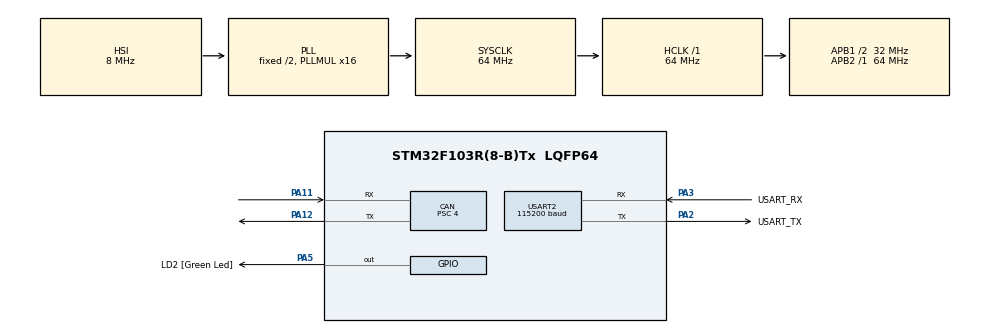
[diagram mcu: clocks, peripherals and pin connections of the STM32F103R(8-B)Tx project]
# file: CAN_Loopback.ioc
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CAN.AutoRetransmission=ENABLE
CAN.BS1=CAN_BS1_13TQ
CAN.BS2=CAN_BS2_2TQ
CAN.CalculateBaudRate=500000
CAN.CalculateTimeBit=2000
CAN.CalculateTimeQuantum=125
CAN.Mode=CAN_MODE_LOOPBACK
CAN.Prescaler=4
Mcu.Family=STM32F1
Mcu.Name=STM32F103R(8-B)Tx
Mcu.Package=LQFP64
NVIC.PriorityGroup=NVIC_PRIORITYGROUP_4
NVIC.USB_LP_CAN1_RX0_IRQn=true\:1\:0\:false\:false\:true\:true\:true\:true
PA11.GPIO_PuPd=GPIO_PULLUP
PA11.Mode=Master
PA11.Signal=CAN_RX
PA12.GPIO_Speed=GPIO_SPEED_FREQ_HIGH
PA12.Mode=Master
PA12.Signal=CAN_TX
PA13.GPIO_Label=TMS
PA13.Mode=Serial_Wire
PA13.Signal=SYS_JTMS-SWDIO
PA14.GPIO_Label=TCK
PA14.Mode=Serial_Wire
PA14.Signal=SYS_JTCK-SWCLK
PA2.GPIO_Label=USART_TX
PA2.GPIO_Mode=GPIO_MODE_AF_PP
PA2.GPIO_PuPd=GPIO_NOPULL
PA2.GPIO_Speed=GPIO_SPEED_FREQ_LOW
PA2.Mode=Asynchronous
PA2.Signal=USART2_TX
PA3.GPIO_Label=USART_RX
PA3.GPIO_PuPd=GPIO_NOPULL
PA3.GPIO_Speed=GPIO_SPEED_FREQ_LOW
PA3.Mode=Asynchronous
PA3.Signal=USART2_RX
PA5.GPIO_Label=LD2 [Green Led]
PA5.GPIO_ModeDefaultOutputPP=GPIO_MODE_OUTPUT_PP
PA5.GPIO_PuPd=GPIO_NOPULL
PA5.GPIO_Speed=GPIO_SPEED_FREQ_LOW
PA5.Signal=GPIO_Output
PB3.GPIO_Label=SWO
PB3.Signal=SYS_JTDO-TRACESWO
PC14-OSC32_IN.Mode=LSE-External-Oscillator
PC14-OSC32_IN.Signal=RCC_OSC32_IN
PC15-OSC32_OUT.Mode=LSE-External-Oscillator
PC15-OSC32_OUT.Signal=RCC_OSC32_OUT
PD0-OSC_IN.Mode=HSE-External-Clock-Source
PD0-OSC_IN.Signal=RCC_OSC_IN
PD1-OSC_OUT.Mode=HSE-External-Clock-Source
PD1-OSC_OUT.Signal=RCC_OSC_OUT
ProjectManager.HeapSize=0x200
ProjectManager.StackSize=0x400
ProjectManager.TargetToolchain=STM32CubeIDE
RCC.AHBFreq_Value=64000000
RCC.APB1CLKDivider=RCC_HCLK_DIV2
RCC.APB1Freq_Value=32000000
RCC.APB1TimFreq_Value=64000000
RCC.APB2Freq_Value=64000000
RCC.APB2TimFreq_Value=64000000
RCC.HCLKFreq_Value=64000000
RCC.PLLMUL=RCC_PLL_MUL16
RCC.RTCClockSelection=RCC_RTCCLKSOURCE_LSE
RCC.SYSCLKFreq_VALUE=64000000
RCC.SYSCLKSource=RCC_SYSCLKSOURCE_PLLCLK
RCC.USBFreq_Value=64000000
USART2.BaudRate=115200
USART2.VirtualMode=VM_ASYNC
board=NUCLEO-F103RB

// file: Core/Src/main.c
/* USER CODE BEGIN Header */
/**
 ******************************************************************************
 * @file           : main.c
 * @brief          : Main program body
 ******************************************************************************
 * @attention
 *
 * Copyright (c) 2026 STMicroelectronics.
 * All rights reserved.
 *
 * This software is licensed under terms that can be found in the LICENSE file
 * in the root directory of this software component.
 * If no LICENSE file comes with this software, it is provided AS-IS.
 *
 ******************************************************************************
 */
/**
 * 01_CAN_Loopback_c  —  [계층: HAL]  bxCAN 루프백 모드 (트랜시버/상대 노드 없이 송수신 시험)
 *
 * 동작
 *   - CAN1 을 500kbps 루프백 모드로 설정. 500ms 마다 표준 ID 0x123, 8바이트(증가하는 카운터) 프레임을 송신.
 *   - 루프백 모드에서는 송신 프레임이 내부에서 수신 경로로 되돌아오므로, FIFO0 수신 인터럽트가 걸린다.
 *   - 수신 콜백이 프레임을 읽어 오면 main 이 송신 내용과 비교해 UART(115200)로 출력.
 *
 * 실제 버스에 연결하려면
 *   1) CAN_MODE_LOOPBACK -> CAN_MODE_NORMAL 로 변경 (CubeMX: CAN > Operating Mode, 또는 MX_CAN_Init 의 hcan.Init.Mode)
 *   2) 3.3V CAN 트랜시버(SN65HVD230 등)를 PA12(CAN_TX), PA11(CAN_RX)에 연결, 버스 양 끝 120Ω 종단
 *   3) 상대 노드도 500kbps 로 설정. Nucleo 보드에는 트랜시버가 없다.
 *   * 주의: PA11/PA12 는 USB 와 같은 핀이고, bxCAN 과 USB 는 512바이트 전용 SRAM 을 공유해 동시에 쓸 수 없다.
 *
 * 비트 타이밍 (RM0008 24장)  CAN 클럭 = APB1 = 32MHz
 *   Prescaler = 4 -> tq = 4/32MHz = 125ns
 *   1 비트 = Sync(1) + BS1(13) + BS2(2) = 16 tq = 2us -> 500kbps
 *   샘플 포인트 = (1+13)/16 = 87.5%,   SJW = 1tq
 *
 * 하드웨어 대응
 *   CAN1->MCR : INRQ(초기화 요청) -> 초기화 모드에서 BTR 설정, CAN1->BTR.LBKM=1 (루프백)
 *   CAN1->FMR/FA1R/FM1R/FS1R/F0R1,F0R2 : 필터 뱅크 0 을 "32비트 마스크 모드, 마스크 0 = 모든 ID 통과"
 *   CAN1->IER.FMPIE0 : FIFO0 메시지 수신 인터럽트,  TSR/TDLxR/TDHxR/TIxR : 송신 메일박스(3개)
 *
 * ISR vs 콜백
 *   USB_LP_CAN1_RX0_IRQHandler (stm32f1xx_it.c, 진짜 ISR) -> HAL_CAN_IRQHandler()
 *     -> HAL_CAN_RxFifo0MsgPendingCallback() (이 파일) : FIFO0 에 프레임이 도착
 */
/* USER CODE END Header */
#include "main.h"

/* USER CODE BEGIN Includes */
#include <stdio.h>
#include <string.h>
/* USER CODE END Includes */

CAN_HandleTypeDef hcan;
UART_HandleTypeDef huart2;

/* USER CODE BEGIN PV */
static volatile uint8_t rx_flag;
static CAN_RxHeaderTypeDef rx_hdr;
static uint8_t rx_data[8];
/* USER CODE END PV */

void SystemClock_Config(void);
static void MX_GPIO_Init(void);
static void MX_CAN_Init(void);
static void MX_USART2_UART_Init(void);

int main(void)
{

  /* USER CODE BEGIN 1 */
  char msg[120];
  uint8_t tx_data[8] = {0};
  uint32_t seq = 0;
  /* USER CODE END 1 */

  /* MCU Configuration--------------------------------------------------------*/

  /* Reset of all peripherals, Initializes the Flash interface and the Systick. */
  HAL_Init();

  /* Configure the system clock */
  SystemClock_Config();

  /* Initialize all configured peripherals */
  MX_GPIO_Init();
  MX_CAN_Init();
  MX_USART2_UART_Init();
  /* USER CODE BEGIN 2 */
  /* 필터 뱅크 0: 32비트 마스크 모드, ID=0 / 마스크=0 -> 모든 프레임을 FIFO0 로 통과 */
  CAN_FilterTypeDef f = {0};
  f.FilterBank = 0;
  f.FilterMode = CAN_FILTERMODE_IDMASK;
  f.FilterScale = CAN_FILTERSCALE_32BIT;
  f.FilterIdHigh = 0;  f.FilterIdLow = 0;
  f.FilterMaskIdHigh = 0;  f.FilterMaskIdLow = 0;
  f.FilterFIFOAssignment = CAN_RX_FIFO0;
  f.FilterActivation = ENABLE;
  if (HAL_CAN_ConfigFilter(&hcan, &f) != HAL_OK) Error_Handler();

  if (HAL_CAN_Start(&hcan) != HAL_OK) Error_Handler();                                        /* MCR.INRQ 해제 -> 버스 참여 */
  if (HAL_CAN_ActivateNotification(&hcan, CAN_IT_RX_FIFO0_MSG_PENDING) != HAL_OK) Error_Handler();   /* IER.FMPIE0 */

  /* USER CODE END 2 */

  /* Infinite loop */
  while (1)
  {

    /* USER CODE BEGIN 3 */
    CAN_TxHeaderTypeDef h = {0};
    h.StdId = 0x123;
    h.IDE = CAN_ID_STD;                    /* 11비트 표준 ID */
    h.RTR = CAN_RTR_DATA;
    h.DLC = 8;
    h.TransmitGlobalTime = DISABLE;

    memcpy(tx_data, &seq, 4);
    tx_data[4] = 0xDE; tx_data[5] = 0xAD; tx_data[6] = 0xBE; tx_data[7] = 0xEF;

    uint32_t mailbox;
    rx_flag = 0;
    if (HAL_CAN_AddTxMessage(&hcan, &h, tx_data, &mailbox) != HAL_OK)
    {
        HAL_UART_Transmit(&huart2, (uint8_t *)"TX fail\r\n", 9, 100);
    }
    else
    {
        uint32_t t0 = HAL_GetTick();
        while (!rx_flag && (HAL_GetTick() - t0) < 50) {}      /* 루프백 수신 대기 (최대 50ms) */

        int ok = rx_flag && rx_hdr.StdId == 0x123 && rx_hdr.DLC == 8 && memcmp(rx_data, tx_data, 8) == 0;
        int n = snprintf(msg, sizeof msg, "TX id=0x123 seq=%lu | RX id=0x%03lX dlc=%lu | %s\r\n",
                         (unsigned long)seq, (unsigned long)rx_hdr.StdId, (unsigned long)rx_hdr.DLC,
                         ok ? "MATCH" : "NO/MISMATCH");
        HAL_UART_Transmit(&huart2, (uint8_t *)msg, (uint16_t)n, 100);
        HAL_GPIO_TogglePin(LD2_GPIO_Port, LD2_Pin);
    }
    seq++;
    HAL_Delay(500);
  }
  /* USER CODE END 3 */
}

void SystemClock_Config(void)
{
  RCC_OscInitTypeDef RCC_OscInitStruct = {0};
  RCC_ClkInitTypeDef RCC_ClkInitStruct = {0};

  /** Initializes the RCC Oscillators according to the specified parameters
  * in the RCC_OscInitTypeDef structure.
  */
  RCC_OscInitStruct.OscillatorType = RCC_OSCILLATORTYPE_HSI;
  RCC_OscInitStruct.HSIState = RCC_HSI_ON;
  RCC_OscInitStruct.HSICalibrationValue = RCC_HSICALIBRATION_DEFAULT;
  RCC_OscInitStruct.PLL.PLLState = RCC_PLL_ON;
  RCC_OscInitStruct.PLL.PLLSource = RCC_PLLSOURCE_HSI_DIV2;
  RCC_OscInitStruct.PLL.PLLMUL = RCC_PLL_MUL16;
  if (HAL_RCC_OscConfig(&RCC_OscInitStruct) != HAL_OK)
  {
    Error_Handler();
  }

  /** Initializes the CPU, AHB and APB buses clocks
  */
  RCC_ClkInitStruct.ClockType = RCC_CLOCKTYPE_HCLK|RCC_CLOCKTYPE_SYSCLK
                              |RCC_CLOCKTYPE_PCLK1|RCC_CLOCKTYPE_PCLK2;
  RCC_ClkInitStruct.SYSCLKSource = RCC_SYSCLKSOURCE_PLLCLK;
  RCC_ClkInitStruct.AHBCLKDivider = RCC_SYSCLK_DIV1;
  RCC_ClkInitStruct.APB1CLKDivider = RCC_HCLK_DIV2;
  RCC_ClkInitStruct.APB2CLKDivider = RCC_HCLK_DIV1;

  if (HAL_RCC_ClockConfig(&RCC_ClkInitStruct, FLASH_LATENCY_2) != HAL_OK)
  {
    Error_Handler();
  }
}

static void MX_GPIO_Init(void)
{
  GPIO_InitTypeDef GPIO_InitStruct = {0};

  /* GPIO Ports Clock Enable */
  __HAL_RCC_GPIOC_CLK_ENABLE();
  __HAL_RCC_GPIOD_CLK_ENABLE();
  __HAL_RCC_GPIOA_CLK_ENABLE();
  __HAL_RCC_GPIOB_CLK_ENABLE();

  /*Configure GPIO pin Output Level */
  HAL_GPIO_WritePin(LD2_GPIO_Port, LD2_Pin, GPIO_PIN_RESET);

  /*Configure GPIO pin : LD2_Pin */
  GPIO_InitStruct.Pin = LD2_Pin;
  GPIO_InitStruct.Mode = GPIO_MODE_OUTPUT_PP;
  GPIO_InitStruct.Pull = GPIO_NOPULL;
  GPIO_InitStruct.Speed = GPIO_SPEED_FREQ_LOW;
  HAL_GPIO_Init(LD2_GPIO_Port, &GPIO_InitStruct);

}

static void MX_CAN_Init(void)
{

  hcan.Instance = CAN1;
  hcan.Init.Prescaler = 4;
  hcan.Init.Mode = CAN_MODE_LOOPBACK;
  hcan.Init.SyncJumpWidth = CAN_SJW_1TQ;
  hcan.Init.TimeSeg1 = CAN_BS1_13TQ;
  hcan.Init.TimeSeg2 = CAN_BS2_2TQ;
  hcan.Init.TimeTriggeredMode = DISABLE;
  hcan.Init.AutoBusOff = DISABLE;
  hcan.Init.AutoWakeUp = DISABLE;
  hcan.Init.AutoRetransmission = ENABLE;
  hcan.Init.ReceiveFifoLocked = DISABLE;
  hcan.Init.TransmitFifoPriority = DISABLE;
  if (HAL_CAN_Init(&hcan) != HAL_OK)
  {
    Error_Handler();
  }
  /* USER CODE BEGIN CAN_Init 2 */
  /* 비트 타이밍 (CAN 클럭 = APB1 = 32MHz): tq = 4/32MHz = 125ns, 1비트 = 1+13+2 = 16tq = 2us -> 500kbps.
   * Mode  -> CAN1->BTR.LBKM/SILM,  AutoBusOff -> CAN1->MCR.ABOM,  AutoRetransmission -> MCR.NART(반전) */
  /* USER CODE END CAN_Init 2 */

}

static void MX_USART2_UART_Init(void)
{

  huart2.Instance = USART2;
  huart2.Init.BaudRate = 115200;
  huart2.Init.WordLength = UART_WORDLENGTH_8B;
  huart2.Init.StopBits = UART_STOPBITS_1;
  huart2.Init.Parity = UART_PARITY_NONE;
  huart2.Init.Mode = UART_MODE_TX_RX;
  huart2.Init.HwFlowCtl = UART_HWCONTROL_NONE;
  huart2.Init.OverSampling = UART_OVERSAMPLING_16;
  if (HAL_UART_Init(&huart2) != HAL_OK)
  {
    Error_Handler();
  }

}

/* USER CODE BEGIN 4 */
/* ------------------------------------------------------------------------- */
/* HAL 콜백 (ISR 아님): FIFO0 에 수신 프레임이 생겼을 때                          */
/* ------------------------------------------------------------------------- */
void HAL_CAN_RxFifo0MsgPendingCallback(CAN_HandleTypeDef *hcan_)
{
    if (HAL_CAN_GetRxMessage(hcan_, CAN_RX_FIFO0, &rx_hdr, rx_data) == HAL_OK)   /* RFxR.RFOM 으로 FIFO 해제 */
        rx_flag = 1;
}

/* USER CODE END 4 */

void Error_Handler(void)
{
  __disable_irq();
  while (1) {
  }
}
#ifdef USE_FULL_ASSERT
/**
  * @brief  Reports the name of the source file and the source line number
  *         where the assert_param error has occurred.
  * @param  file: pointer to the source file name
  * @param  line: assert_param error line source number
  * @retval None
  */
void assert_failed(uint8_t *file, uint32_t line)
{
  /* USER CODE BEGIN 6 */
  /* User can add his own implementation to report the file name and line
     number, ex: printf("Wrong parameters value: file %s on line %d\r\n", file,
     line) */
  /* USER CODE END 6 */
}
#endif /* USE_FULL_ASSERT */
